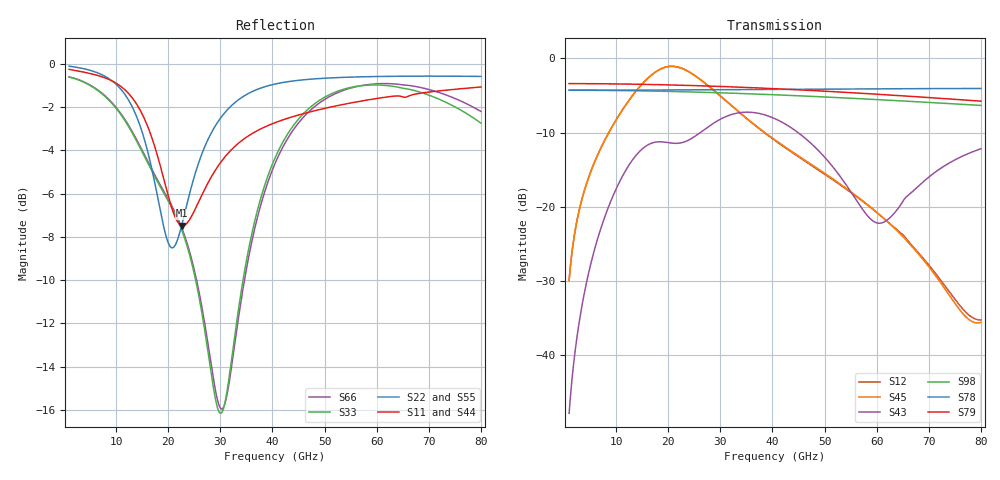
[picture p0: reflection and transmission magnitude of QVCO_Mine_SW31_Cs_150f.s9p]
! Touchstone Ver. 1.0
! Number of ports is 9
# Hz	S	RI	R	50.000000
! SCATTERING PARAMETERS  :
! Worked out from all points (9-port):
!   1001 points, 1 GHz to 80 GHz, reference 50 ohm
!   strongest paths, dB at 1 GHz, 20.75 GHz, 40.5 GHz, 60.25 GHz, 80 GHz:
!     S79: -3.4, -3.6, -4.1, -4.8, -5.8
!     S78: -4.3, -4.2, -4.2, -4.1, -4.0
!     S98: -4.3, -4.4, -4.9, -5.5, -6.3
!     S43: -47.8, -11.4, -8.1, -22.2, -12.2
!     S45: -29.9, -1.0, -11.0, -20.9, -35.6
!     S12: -29.9, -1.1, -11.1, -20.9, -35.2
!   lowest |S11| = -7.5 dB at 22.73 GHz (marker M1), VSWR 2.46, Z = 39.2 + j39.8 ohm
!   |S11| at or under -10 dB: nowhere
